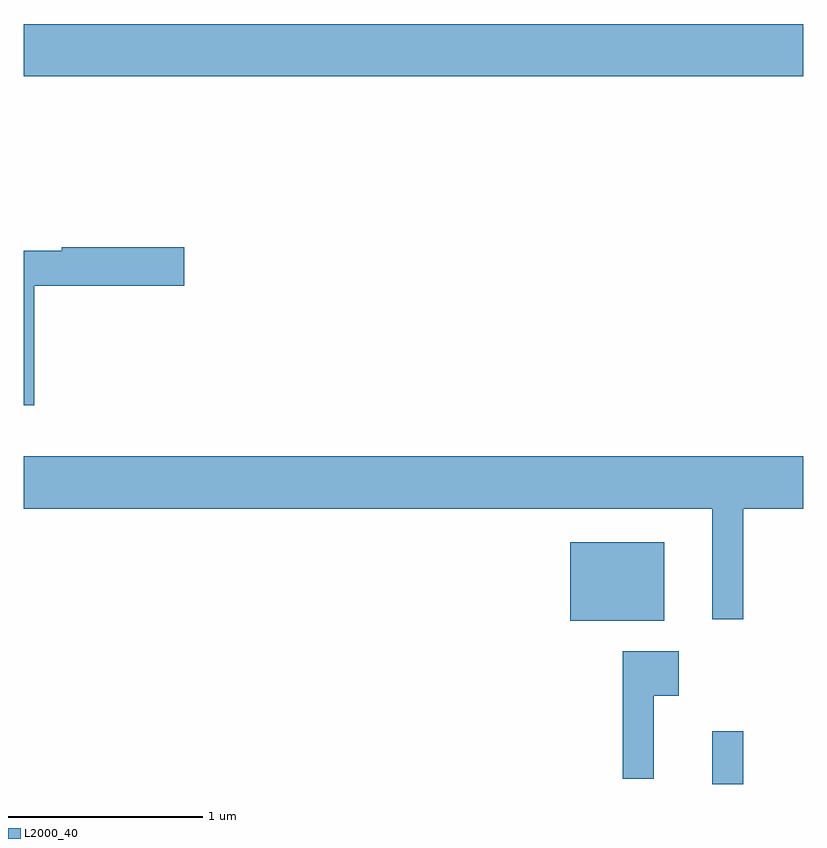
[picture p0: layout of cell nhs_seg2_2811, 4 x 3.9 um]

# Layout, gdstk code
import gdstk
lib = gdstk.Library(unit=1e-6, precision=1e-09)
def R(c, l, rs):  # rectangles x0, y0, x1, y1
    for r in rs: c.add(gdstk.rectangle(r[:2], r[2:], *l))
def P(c, l, *ps):  # polygons
    for p in ps: c.add(gdstk.Polygon(p, *l))
L2000_40 = (2000, 40)

nhs_seg2_2811 = lib.new_cell('nhs_seg2_2811')
R(nhs_seg2_2811, L2000_40, [(271.146,1035.802,271.304,1036.073), (270.416,1036.641,270.899,1037.044), (267.611,1039.436,271.611,1039.704)])
P(nhs_seg2_2811, L2000_40, [(267.664,1038.361),(268.434,1038.361),(268.434,1038.559),(267.806,1038.559),(267.806,1038.539),(267.611,1038.539),(267.611,1037.746),(267.664,1037.746)],
  [(271.304,1037.216),(271.611,1037.216),(271.611,1037.484),(267.611,1037.484),(267.611,1037.216),(271.146,1037.216),(271.146,1036.648),(271.304,1036.648)],
  [(270.844,1036.256),(270.974,1036.256),(270.974,1036.484),(270.686,1036.484),(270.686,1035.828),(270.844,1035.828)])

lib.write_gds('nhs_seg2_2811.gds')
